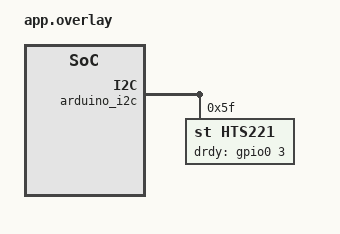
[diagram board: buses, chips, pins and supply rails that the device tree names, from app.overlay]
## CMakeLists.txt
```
cmake_minimum_required(VERSION 3.20.0)

find_package(Zephyr REQUIRED HINTS $ENV{ZEPHYR_BASE})
project(ble_env_sensor LANGUAGES C)

target_sources(app PRIVATE
  src/main.c
  src/bluetooth.c
  src/ess.c
  src/ess_format.c
  src/sampling.c
  src/watchdog.c
)
```

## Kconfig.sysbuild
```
# Sysbuild Kconfig root for this application.
#
# Its only job is to point the MCUboot signing key at this repo's committed
# development key by an ABSOLUTE path, then defer to the stock sysbuild Kconfig
# for everything else.
#
# Why this can't live in sysbuild.conf: the key has to be an absolute path
# (the bootloader image and the application image resolve a relative key path
# against different base directories, so no single relative path works for
# both). The only portable way to write an absolute path here is the module-dir
# macro $(ZEPHYR_BLE_ENV_SENSOR_MODULE_DIR) — and Kconfig only expands $(...)
# inside Kconfig *source* files, not in values assigned from a .conf fragment.
# So we override the default here (this is exactly how MCUboot's own default key
# uses $(ZEPHYR_MCUBOOT_MODULE_DIR)). zephyr/module.yml is what exposes the
# macro. See docs/secure-boot.md.
#
# This default must precede the stock definition: Kconfig uses the first default
# whose condition holds. An explicit SB_CONFIG_BOOT_SIGNATURE_KEY_FILE in
# sysbuild.conf would still override it (don't set one — let this default win),
# while a `-D` override on the build command line continues to work for
# production keys (see keys/README.md).
config BOOT_SIGNATURE_KEY_FILE
	default "$(ZEPHYR_BLE_ENV_SENSOR_MODULE_DIR)/keys/dev-signing-ec-p256.pem" if BOOT_SIGNATURE_TYPE_ECDSA_P256

source "share/sysbuild/Kconfig"
```

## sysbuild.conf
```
# Sysbuild options — only consulted by `west build --sysbuild`. A plain
# `west build` ignores this file entirely, so the standalone sensor build is
# unaffected by everything below.

# Build MCUboot alongside the application and produce a signed image.
SB_CONFIG_BOOTLOADER_MCUBOOT=y

# ---------------------------------------------------------------------------
# Secure boot: Root of Trust
# ---------------------------------------------------------------------------
# Authenticate every image with ECDSA over NIST P-256. Versus the MCUboot
# default (RSA-2048) this gives much smaller signatures/keys (64 B sig, 32 B
# key) with no SoC crypto-accelerator dependency on the nRF52840 — a better fit
# for a flash- and power-constrained sensor node.
SB_CONFIG_BOOT_SIGNATURE_TYPE_ECDSA_P256=y

# Our own Root-of-Trust key. MCUboot embeds the *public* half and refuses to
# boot any image not signed by the matching private key; `west sign` uses the
# *private* half to sign the application image.
#
# The key PATH (an absolute path, so the bootloader and application images
# resolve it identically) is set in Kconfig.sysbuild — it must be a Kconfig
# source, because the $(...module dir...) macro that builds the absolute path is
# not expanded in values assigned here. Do NOT set
# SB_CONFIG_BOOT_SIGNATURE_KEY_FILE here: an explicit value would override that
# default. DEV KEY ONLY; production overrides via -D (see keys/README.md).

# Swap-using-move (the nRF default) keeps the secondary slot's previous image,
# so MCUboot can still revert an update that fails to confirm. Pinned explicitly
# because the anti-rollback security counter (sysbuild/mcuboot.conf) depends on a
# swap mode, and so the test/confirm/revert contract is not silently lost if the
# upstream default ever changes.
SB_CONFIG_MCUBOOT_MODE_SWAP_USING_MOVE=y
```

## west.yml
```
# West manifest — T2 ("application is the manifest repo") topology.
#
# In CI the repo is checked out at <workspace>/ble and we run:
#   west init -l ble && west update
# which clones Zephyr (pinned below) and its modules as siblings.
manifest:
  self:
    path: ble

  remotes:
    - name: zephyrproject-rtos
      url-base: https://github.com/zephyrproject-rtos

  projects:
    - name: zephyr
      remote: zephyrproject-rtos
      revision: v4.1.0
      # Pull Zephyr's modules. Robust first; can be trimmed to a
      # name-allowlist (cmsis, hal_nordic, mcuboot, mbedtls, segger)
      # once the build is green and dependencies are pinned down.
      import: true
```

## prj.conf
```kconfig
# ---------- Logging ----------
CONFIG_LOG=y
CONFIG_LOG_DEFAULT_LEVEL=3
CONFIG_THREAD_NAME=y

# ---------- Sensor + buses ----------
CONFIG_SENSOR=y
CONFIG_I2C=y
CONFIG_GPIO=y
CONFIG_HTS221=y
# Data-ready trigger handled in the sensor subsystem's global trigger thread,
# woken by the DRDY GPIO ISR. Requires drdy-gpios in the devicetree overlay.
CONFIG_HTS221_TRIGGER_GLOBAL_THREAD=y

# ---------- Bluetooth peripheral ----------
CONFIG_BT=y
CONFIG_BT_PERIPHERAL=y
CONFIG_BT_DEVICE_NAME="ble-env-sensor"

# Power-tuned preferred connection parameters (advertised to the central)
CONFIG_BT_GAP_PERIPHERAL_PREF_PARAMS=y
CONFIG_BT_PERIPHERAL_PREF_MIN_INT=80
CONFIG_BT_PERIPHERAL_PREF_MAX_INT=120
CONFIG_BT_PERIPHERAL_PREF_LATENCY=4
CONFIG_BT_PERIPHERAL_PREF_TIMEOUT=400

# ---------- Watchdog ----------
CONFIG_WATCHDOG=y

# ---------- Persistence: bonds + CCC subscriptions across reboots ----------
CONFIG_BT_SMP=y
CONFIG_BT_SETTINGS=y
CONFIG_SETTINGS=y
CONFIG_FLASH=y
CONFIG_FLASH_MAP=y
CONFIG_NVS=y
CONFIG_SETTINGS_NVS=y
```

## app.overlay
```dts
/*
 * Environmental sensor on the nRF52840/nRF52833 DK Arduino I2C header.
 *
 * HTS221 (temperature + humidity) with its data-ready line wired to a GPIO,
 * exposed to the application through the `env-sensor` alias so the firmware
 * stays decoupled from the specific part. `arduino_i2c` is used because the
 * board files already provide its pin control.
 */

#include <zephyr/dt-bindings/gpio/gpio.h>

/ {
	aliases {
		env-sensor = &hts221;
	};
};

&arduino_i2c {
	status = "okay";

	hts221: hts221@5f {
		compatible = "st,hts221";
		reg = <0x5f>;
		drdy-gpios = <&gpio0 3 GPIO_ACTIVE_HIGH>;
	};
};
```

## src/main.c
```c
/*
 * BLE Environmental Sensing node — application entry point.
 *
 * Wiring order matters: bring the watchdog supervisor up first, then the BLE
 * link, then the sampling thread (which registers itself with the watchdog).
 */

#include <zephyr/kernel.h>
#include <zephyr/logging/log.h>

#include "bluetooth.h"
#include "sampling.h"
#include "watchdog.h"

LOG_MODULE_REGISTER(app, LOG_LEVEL_INF);

#if defined(CONFIG_BOOTLOADER_MCUBOOT)
#include <zephyr/dfu/mcuboot.h>
#include <zephyr/storage/flash_map.h>

/* This image is only linked into an MCUboot slot for the OTA build, which must
 * also carry the SMP transport that receives updates. Fail the build loudly if
 * the OTA overlay (sysbuild/ble.conf) was not applied to this image. */
BUILD_ASSERT(IS_ENABLED(CONFIG_MCUMGR_TRANSPORT_BT),
	     "OTA image is missing the SMP DFU transport (sysbuild/ble.conf not applied)");

/* Reaching application code means MCUboot validated slot0's signature against
 * the embedded Root-of-Trust public key (CONFIG_BOOT_VALIDATE_SLOT0). Read the
 * image header back and log the version so a specific signed build's boot is
 * observable on the console — handy when exercising OTA test/confirm/revert. */
static void log_running_image(void)
{
	struct mcuboot_img_header hdr;
	int rc = boot_read_bank_header(FIXED_PARTITION_ID(slot0_partition),
				       &hdr, sizeof(hdr));

	if (rc != 0 || hdr.mcuboot_version != 1) {
		LOG_WRN("could not read image header (%d)", rc);
		return;
	}

	const struct mcuboot_img_sem_ver *v = &hdr.h.v1.sem_ver;

	LOG_INF("verified image v%u.%u.%u+%u (%u bytes)",
		(unsigned int)v->major, (unsigned int)v->minor,
		(unsigned int)v->revision, (unsigned int)v->build_num,
		(unsigned int)hdr.h.v1.image_size);
}

static void confirm_running_image(void)
{
	if (boot_is_img_confirmed()) {
		return;
	}

	/* A freshly DFU'd image boots in test mode; reaching a healthy boot
	 * confirms it so MCUboot keeps it instead of reverting on next reset. */
	if (boot_write_img_confirmed() == 0) {
		LOG_INF("running image confirmed");
	} else {
		LOG_ERR("failed to confirm running image");
	}
}
#else
static inline void log_running_image(void) { }
static inline void confirm_running_image(void) { }
#endif

int main(void)
{
	LOG_INF("ble env-sensor node starting");

	if (app_watchdog_init() != 0) {
		LOG_ERR("watchdog init failed");
	}
	if (app_bt_init() != 0) {
		LOG_ERR("bluetooth init failed");
	}
	if (app_sampling_init() != 0) {
		LOG_ERR("sampling init failed");
	}

	log_running_image();
	confirm_running_image();

	LOG_INF("init complete");

	/* Work runs in dedicated threads from here on. */
	return 0;
}
```

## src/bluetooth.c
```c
#include <zephyr/kernel.h>
#include <zephyr/sys/util.h>
#include <zephyr/bluetooth/bluetooth.h>
#include <zephyr/bluetooth/conn.h>
#include <zephyr/bluetooth/gap.h>
#include <zephyr/bluetooth/uuid.h>
#include <zephyr/logging/log.h>

#if IS_ENABLED(CONFIG_SETTINGS)
#include <zephyr/settings/settings.h>
#endif

#include "bluetooth.h"

LOG_MODULE_REGISTER(app_bt, LOG_LEVEL_INF);

/* Power-tuned connection: 100-150 ms interval with peripheral latency so the
 * link costs little while idle between samples. Units: 1.25 ms / 10 ms. */
#define CONN_INT_MIN 80
#define CONN_INT_MAX 120
#define CONN_LATENCY 4
#define CONN_TIMEOUT 400

static const struct bt_data ad[] = {
	BT_DATA_BYTES(BT_DATA_FLAGS, (BT_LE_AD_GENERAL | BT_LE_AD_NO_BREDR)),
	BT_DATA_BYTES(BT_DATA_UUID16_ALL, BT_UUID_16_ENCODE(BT_UUID_ESS_VAL)),
};

static const struct bt_data sd[] = {
	BT_DATA(BT_DATA_NAME_COMPLETE, CONFIG_BT_DEVICE_NAME,
		sizeof(CONFIG_BT_DEVICE_NAME) - 1),
};

/* ~1 s connectable advertising keeps the not-connected average current low. */
static const struct bt_le_adv_param adv_param = BT_LE_ADV_PARAM_INIT(
	BT_LE_ADV_OPT_CONN, BT_GAP_ADV_SLOW_INT_MIN, BT_GAP_ADV_SLOW_INT_MAX, NULL);

static void start_adv(void)
{
	int err = bt_le_adv_start(&adv_param, ad, ARRAY_SIZE(ad), sd, ARRAY_SIZE(sd));

	if (err) {
		LOG_ERR("advertising start failed (%d)", err);
		return;
	}
	LOG_INF("advertising as \"%s\"", CONFIG_BT_DEVICE_NAME);
}

static void connected(struct bt_conn *conn, uint8_t err)
{
	if (err) {
		LOG_WRN("connection failed (0x%02x)", err);
		start_adv();
		return;
	}

	LOG_INF("connected");

	struct bt_le_conn_param *param =
		BT_LE_CONN_PARAM(CONN_INT_MIN, CONN_INT_MAX, CONN_LATENCY, CONN_TIMEOUT);

	(void)bt_conn_le_param_update(conn, param);
}

static void disconnected(struct bt_conn *conn, uint8_t reason)
{
	ARG_UNUSED(conn);
	LOG_INF("disconnected (0x%02x)", reason);
	start_adv();
}

static void le_param_updated(struct bt_conn *conn, uint16_t interval,
			     uint16_t latency, uint16_t timeout)
{
	ARG_UNUSED(conn);
	/* interval is in 1.25 ms units; report the integer millisecond value. */
	LOG_INF("conn params updated: interval ~%u ms, latency %u, timeout %u ms",
		(interval * 5) / 4, latency, timeout * 10);
}

BT_CONN_CB_DEFINE(conn_callbacks) = {
	.connected = connected,
	.disconnected = disconnected,
	.le_param_updated = le_param_updated,
};

#if defined(CONFIG_BT_SMP)
static void pairing_complete(struct bt_conn *conn, bool bonded)
{
	ARG_UNUSED(conn);
	LOG_INF("pairing complete (bonded=%d)", bonded);
}

static void pairing_failed(struct bt_conn *conn, enum bt_security_err reason)
{
	ARG_UNUSED(conn);
	LOG_WRN("pairing failed (reason %d)", reason);
}

static struct bt_conn_auth_info_cb auth_info_cb = {
	.pairing_complete = pairing_complete,
	.pairing_failed = pairing_failed,
};
#endif /* CONFIG_BT_SMP */

int app_bt_init(void)
{
	int err = bt_enable(NULL);

	if (err) {
		LOG_ERR("bt_enable failed (%d)", err);
		return err;
	}

#if IS_ENABLED(CONFIG_SETTINGS)
	settings_load();
#endif

#if defined(CONFIG_BT_SMP)
	(void)bt_conn_auth_info_cb_register(&auth_info_cb);
#endif

	start_adv();
	return 0;
}
```

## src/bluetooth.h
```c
#ifndef APP_BLUETOOTH_H_
#define APP_BLUETOOTH_H_

/* Enable the controller + host, register connection callbacks, and start
 * power-tuned connectable advertising. Returns 0 on success. */
int app_bt_init(void);

#endif /* APP_BLUETOOTH_H_ */
```

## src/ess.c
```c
#include <zephyr/kernel.h>
#include <zephyr/sys/byteorder.h>
#include <zephyr/bluetooth/bluetooth.h>
#include <zephyr/bluetooth/gatt.h>
#include <zephyr/bluetooth/uuid.h>
#include <zephyr/logging/log.h>

#include "ess.h"
#include "ess_format.h"

LOG_MODULE_REGISTER(ess, LOG_LEVEL_INF);

/* Latest values, already in little-endian ESS wire format. */
static int16_t  temp_le;
static uint16_t humidity_le;
static uint32_t pressure_le;

static bool temp_ntf;
static bool humidity_ntf;
static bool pressure_ntf;

static ssize_t read_le(struct bt_conn *conn, const struct bt_gatt_attr *attr,
		       void *buf, uint16_t len, uint16_t offset, uint16_t vlen)
{
	return bt_gatt_attr_read(conn, attr, buf, len, offset, attr->user_data, vlen);
}

static ssize_t read_u16(struct bt_conn *conn, const struct bt_gatt_attr *attr,
			void *buf, uint16_t len, uint16_t offset)
{
	return read_le(conn, attr, buf, len, offset, sizeof(uint16_t));
}

static ssize_t read_u32(struct bt_conn *conn, const struct bt_gatt_attr *attr,
			void *buf, uint16_t len, uint16_t offset)
{
	return read_le(conn, attr, buf, len, offset, sizeof(uint32_t));
}

static void temp_ccc(const struct bt_gatt_attr *attr, uint16_t value)
{
	temp_ntf = (value == BT_GATT_CCC_NOTIFY);
}

static void humidity_ccc(const struct bt_gatt_attr *attr, uint16_t value)
{
	humidity_ntf = (value == BT_GATT_CCC_NOTIFY);
}

static void pressure_ccc(const struct bt_gatt_attr *attr, uint16_t value)
{
	pressure_ntf = (value == BT_GATT_CCC_NOTIFY);
}

BT_GATT_SERVICE_DEFINE(ess_svc,
	BT_GATT_PRIMARY_SERVICE(BT_UUID_ESS),

	BT_GATT_CHARACTERISTIC(BT_UUID_TEMPERATURE,
			       BT_GATT_CHRC_READ | BT_GATT_CHRC_NOTIFY,
			       BT_GATT_PERM_READ, read_u16, NULL, &temp_le),
	BT_GATT_CCC(temp_ccc, BT_GATT_PERM_READ | BT_GATT_PERM_WRITE),

	BT_GATT_CHARACTERISTIC(BT_UUID_HUMIDITY,
			       BT_GATT_CHRC_READ | BT_GATT_CHRC_NOTIFY,
			       BT_GATT_PERM_READ, read_u16, NULL, &humidity_le),
	BT_GATT_CCC(humidity_ccc, BT_GATT_PERM_READ | BT_GATT_PERM_WRITE),

	BT_GATT_CHARACTERISTIC(BT_UUID_PRESSURE,
			       BT_GATT_CHRC_READ | BT_GATT_CHRC_NOTIFY,
			       BT_GATT_PERM_READ, read_u32, NULL, &pressure_le),
	BT_GATT_CCC(pressure_ccc, BT_GATT_PERM_READ | BT_GATT_PERM_WRITE),
);

/*
 * Indices of the characteristic VALUE attributes within ess_svc.attrs[]:
 *   [0] primary service
 *   [1] temperature declaration   [2] temperature value   [3] temperature CCC
 *   [4] humidity declaration      [5] humidity value      [6] humidity CCC
 *   [7] pressure declaration      [8] pressure value      [9] pressure CCC
 */
#define ATTR_TEMP     2
#define ATTR_HUMIDITY 5
#define ATTR_PRESSURE 8

void ess_update_temperature(const struct sensor_value *v)
{
	temp_le = (int16_t)sys_cpu_to_le16((uint16_t)ess_encode_temperature(v));
	if (temp_ntf) {
		bt_gatt_notify(NULL, &ess_svc.attrs[ATTR_TEMP], &temp_le, sizeof(temp_le));
	}
}

void ess_update_humidity(const struct sensor_value *v)
{
	humidity_le = sys_cpu_to_le16(ess_encode_humidity(v));
	if (humidity_ntf) {
		bt_gatt_notify(NULL, &ess_svc.attrs[ATTR_HUMIDITY], &humidity_le,
			       sizeof(humidity_le));
	}
}

void ess_update_pressure(const struct sensor_value *v)
{
	pressure_le = sys_cpu_to_le32(ess_encode_pressure(v));
	if (pressure_ntf) {
		bt_gatt_notify(NULL, &ess_svc.attrs[ATTR_PRESSURE], &pressure_le,
			       sizeof(pressure_le));
	}
}
```

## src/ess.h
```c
#ifndef APP_ESS_H_
#define APP_ESS_H_

#include <zephyr/drivers/sensor.h>

/*
 * Environmental Sensing Service (0x181A) front-end.
 *
 * Each helper stores the freshly sampled value in ESS wire format and, if a
 * client has subscribed, sends a notification. Call from thread context.
 */
void ess_update_temperature(const struct sensor_value *v);
void ess_update_humidity(const struct sensor_value *v);
void ess_update_pressure(const struct sensor_value *v);

#endif /* APP_ESS_H_ */
```

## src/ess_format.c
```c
#include "ess_format.h"

/*
 * Zephyr sensor values are val1 + val2 * 1e-6. The ESS conversions below scale
 * into the fixed-point integer units defined by the GATT characteristics and
 * saturate to the wire type's range.
 */

int16_t ess_encode_temperature(const struct sensor_value *v)
{
	/* 0.01 degC units */
	int32_t hundredths = v->val1 * 100 + v->val2 / 10000;

	if (hundredths > INT16_MAX) {
		hundredths = INT16_MAX;
	} else if (hundredths < INT16_MIN) {
		hundredths = INT16_MIN;
	}
	return (int16_t)hundredths;
}

uint16_t ess_encode_humidity(const struct sensor_value *v)
{
	/* 0.01 % units */
	int32_t hundredths = v->val1 * 100 + v->val2 / 10000;

	if (hundredths < 0) {
		hundredths = 0;
	} else if (hundredths > UINT16_MAX) {
		hundredths = UINT16_MAX;
	}
	return (uint16_t)hundredths;
}

uint32_t ess_encode_pressure(const struct sensor_value *v)
{
	/* Sensor pressure is in kPa; ESS wants 0.1 Pa units (kPa * 10000). */
	int64_t tenths_pa = (int64_t)v->val1 * 10000 + (int64_t)v->val2 / 100;

	if (tenths_pa < 0) {
		tenths_pa = 0;
	} else if (tenths_pa > UINT32_MAX) {
		tenths_pa = UINT32_MAX;
	}
	return (uint32_t)tenths_pa;
}
```

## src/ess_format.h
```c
#ifndef APP_ESS_FORMAT_H_
#define APP_ESS_FORMAT_H_

#include <stdint.h>
#include <zephyr/drivers/sensor.h>

/*
 * Pure conversions from Zephyr sensor values to GATT Environmental Sensing
 * representations. Kept free of Bluetooth dependencies so they can be unit
 * tested on the host (see tests/ess_format).
 *
 *   Temperature (0x2A6E): sint16, 0.01 degC
 *   Humidity    (0x2A6F): uint16, 0.01 %
 *   Pressure    (0x2A6D): uint32, 0.1 Pa
 */
int16_t  ess_encode_temperature(const struct sensor_value *v);
uint16_t ess_encode_humidity(const struct sensor_value *v);
uint32_t ess_encode_pressure(const struct sensor_value *v);

#endif /* APP_ESS_FORMAT_H_ */
```

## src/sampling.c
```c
#include <errno.h>

#include <zephyr/kernel.h>
#include <zephyr/device.h>
#include <zephyr/drivers/sensor.h>
#include <zephyr/logging/log.h>

#include "sampling.h"
#include "ess.h"
#include "watchdog.h"

LOG_MODULE_REGISTER(sampling, LOG_LEVEL_INF);

#define ENV_SENSOR_NODE DT_ALIAS(env_sensor)
BUILD_ASSERT(DT_NODE_HAS_STATUS(ENV_SENSOR_NODE, okay),
	     "env-sensor alias is missing/disabled in the devicetree overlay");

static const struct device *const env_sensor = DEVICE_DT_GET(ENV_SENSOR_NODE);

static K_SEM_DEFINE(drdy_sem, 0, 1);
static int wdt_task_id = -1;

#define SAMPLING_STACK_SIZE 2048
#define SAMPLING_PRIORITY   7
K_THREAD_STACK_DEFINE(sampling_stack, SAMPLING_STACK_SIZE);
static struct k_thread sampling_thread;

static void drdy_handler(const struct device *dev, const struct sensor_trigger *trig)
{
	ARG_UNUSED(dev);
	ARG_UNUSED(trig);

	/* The DRDY GPIO ISR woke the sensor subsystem's trigger thread, which
	 * calls us here. Keep it minimal: wake the sampling thread and return.
	 * No I2C, no GATT, no blocking primitives in this path. */
	k_sem_give(&drdy_sem);
}

static void sample_once(void)
{
	struct sensor_value val;

	if (sensor_sample_fetch(env_sensor) < 0) {
		LOG_WRN("sample fetch failed");
		return;
	}

	if (sensor_channel_get(env_sensor, SENSOR_CHAN_AMBIENT_TEMP, &val) == 0) {
		ess_update_temperature(&val);
	}
	if (sensor_channel_get(env_sensor, SENSOR_CHAN_HUMIDITY, &val) == 0) {
		ess_update_humidity(&val);
	}
	if (sensor_channel_get(env_sensor, SENSOR_CHAN_PRESS, &val) == 0) {
		ess_update_pressure(&val);
	}
}

static void sampling_fn(void *p1, void *p2, void *p3)
{
	ARG_UNUSED(p1);
	ARG_UNUSED(p2);
	ARG_UNUSED(p3);

	struct sensor_trigger trig = {
		.type = SENSOR_TRIG_DATA_READY,
		.chan = SENSOR_CHAN_ALL,
	};
	bool triggered = (sensor_trigger_set(env_sensor, &trig, drdy_handler) == 0);

	if (!triggered) {
		LOG_WRN("DATA_READY trigger unavailable; falling back to 1 Hz polling");
	}

	for (;;) {
		if (triggered) {
			/* Block on DRDY. The 2 s cap means a missed interrupt
			 * still yields a sample and a watchdog check-in. */
			(void)k_sem_take(&drdy_sem, K_SECONDS(2));
		} else {
			k_sleep(K_SECONDS(1));
		}

		sample_once();
		watchdog_task_feed(wdt_task_id);
	}
}

int app_sampling_init(void)
{
	if (!device_is_ready(env_sensor)) {
		LOG_ERR("%s not ready", env_sensor->name);
		return -ENODEV;
	}

	wdt_task_id = watchdog_task_register("sampling");

	k_thread_create(&sampling_thread, sampling_stack, SAMPLING_STACK_SIZE,
			sampling_fn, NULL, NULL, NULL, SAMPLING_PRIORITY, 0, K_NO_WAIT);
	k_thread_name_set(&sampling_thread, "sampling");

	return 0;
}
```

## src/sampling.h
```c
#ifndef APP_SAMPLING_H_
#define APP_SAMPLING_H_

/* Bring up the environmental sensor, install its data-ready trigger, and start
 * the sampling thread. Returns 0 on success, negative errno otherwise. */
int app_sampling_init(void);

#endif /* APP_SAMPLING_H_ */
```

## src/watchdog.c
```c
#include <errno.h>

#include <zephyr/kernel.h>
#include <zephyr/device.h>
#include <zephyr/drivers/watchdog.h>
#include <zephyr/sys/atomic.h>
#include <zephyr/sys/util.h>
#include <zephyr/logging/log.h>

#include "watchdog.h"

LOG_MODULE_REGISTER(wdt, LOG_LEVEL_INF);

#define WDT_TIMEOUT_MS      10000
#define WDT_CHECK_PERIOD_MS 3000
#define MAX_TASKS           4

static const struct device *const wdt = DEVICE_DT_GET(DT_NODELABEL(wdt0));
static int wdt_channel;

static atomic_t registered_mask;
static atomic_t checkin_mask;
static int task_count;

#define SUP_STACK_SIZE 1024
#define SUP_PRIORITY   5
K_THREAD_STACK_DEFINE(sup_stack, SUP_STACK_SIZE);
static struct k_thread sup_thread;

int watchdog_task_register(const char *name)
{
	if (task_count >= MAX_TASKS) {
		LOG_ERR("no watchdog slots left for %s", name);
		return -1;
	}

	int id = task_count++;

	atomic_or(&registered_mask, BIT(id));
	LOG_INF("watchdog task %d = %s", id, name);
	return id;
}

void watchdog_task_feed(int task_id)
{
	if (task_id < 0) {
		return;
	}
	atomic_or(&checkin_mask, BIT(task_id));
}

static void supervisor_fn(void *p1, void *p2, void *p3)
{
	ARG_UNUSED(p1);
	ARG_UNUSED(p2);
	ARG_UNUSED(p3);

	for (;;) {
		k_sleep(K_MSEC(WDT_CHECK_PERIOD_MS));

		uint32_t reg = (uint32_t)atomic_get(&registered_mask);
		uint32_t chk = (uint32_t)atomic_get(&checkin_mask);

		if ((chk & reg) == reg) {
			/* All supervised tasks checked in. Pet the dog, then
			 * demand a fresh round. A hung task leaves its bit clear,
			 * so we withhold the feed and the SoC resets. */
			(void)wdt_feed(wdt, wdt_channel);
			atomic_clear(&checkin_mask);
		} else {
			LOG_WRN("watchdog: tasks 0x%x missed check-in; withholding feed",
				reg & ~chk);
		}
	}
}

int app_watchdog_init(void)
{
	if (!device_is_ready(wdt)) {
		LOG_ERR("watchdog device not ready");
		return -ENODEV;
	}

	struct wdt_timeout_cfg cfg = {
		.window = { .min = 0U, .max = WDT_TIMEOUT_MS },
		.callback = NULL,
		.flags = WDT_FLAG_RESET_SOC,
	};

	wdt_channel = wdt_install_timeout(wdt, &cfg);
	if (wdt_channel < 0) {
		LOG_ERR("wdt_install_timeout failed (%d)", wdt_channel);
		return wdt_channel;
	}

	int err = wdt_setup(wdt, WDT_OPT_PAUSE_HALTED_BY_DBG);

	if (err) {
		LOG_ERR("wdt_setup failed (%d)", err);
		return err;
	}

	k_thread_create(&sup_thread, sup_stack, SUP_STACK_SIZE,
			supervisor_fn, NULL, NULL, NULL, SUP_PRIORITY, 0, K_NO_WAIT);
	k_thread_name_set(&sup_thread, "wdt_supervisor");

	return 0;
}
```

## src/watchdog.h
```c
#ifndef APP_WATCHDOG_H_
#define APP_WATCHDOG_H_

/* Configure the hardware watchdog and start the supervisor thread. */
int app_watchdog_init(void);

/* Register a supervised task; returns a non-negative id, or negative on error.
 * The returned id is passed to watchdog_task_feed(). */
int watchdog_task_register(const char *name);

/* Record that a supervised task is alive this window. The supervisor only pets
 * the hardware watchdog once every registered task has checked in. */
void watchdog_task_feed(int task_id);

#endif /* APP_WATCHDOG_H_ */
```
